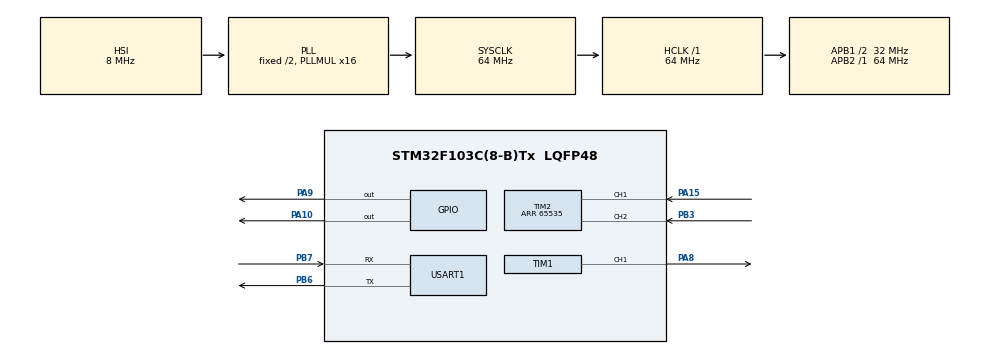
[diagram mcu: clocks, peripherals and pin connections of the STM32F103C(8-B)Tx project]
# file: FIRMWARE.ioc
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Mcu.Family=STM32F1
Mcu.Name=STM32F103C(8-B)Tx
Mcu.Package=LQFP48
NVIC.PriorityGroup=NVIC_PRIORITYGROUP_4
NVIC.TIM3_IRQn=true\:0\:0\:false\:false\:true\:true\:true\:true
NVIC.USART1_IRQn=true\:1\:0\:true\:false\:true\:true\:true\:true
PA10.GPIO_PuPd=GPIO_PULLUP
PA10.Signal=GPIO_Output
PA13.Mode=Serial_Wire
PA13.Signal=SYS_JTMS-SWDIO
PA14.Mode=Serial_Wire
PA14.Signal=SYS_JTCK-SWCLK
PA15.Signal=S_TIM2_CH1_ETR
PA8.Signal=S_TIM1_CH1
PA9.GPIO_PuPd=GPIO_PULLUP
PA9.Signal=GPIO_Output
PB3.GPIO_Mode=GPIO_MODE_INPUT
PB3.GPIO_PuPd=GPIO_PULLUP
PB3.Signal=S_TIM2_CH2
PB6.Mode=Asynchronous
PB6.Signal=USART1_TX
PB7.Mode=Asynchronous
PB7.Signal=USART1_RX
PD0-OSC_IN.Mode=HSE-External-Oscillator
PD0-OSC_IN.Signal=RCC_OSC_IN
PD1-OSC_OUT.Mode=HSE-External-Oscillator
PD1-OSC_OUT.Signal=RCC_OSC_OUT
ProjectManager.HeapSize=0x200
ProjectManager.StackSize=0x400
ProjectManager.TargetToolchain=MDK-ARM V5
RCC.AHBFreq_Value=64000000
RCC.APB1CLKDivider=RCC_HCLK_DIV2
RCC.APB1Freq_Value=32000000
RCC.APB1TimFreq_Value=64000000
RCC.APB2Freq_Value=64000000
RCC.APB2TimFreq_Value=64000000
RCC.HCLKFreq_Value=64000000
RCC.PLLMUL=RCC_PLL_MUL16
RCC.SYSCLKFreq_VALUE=64000000
RCC.SYSCLKSource=RCC_SYSCLKSOURCE_PLLCLK
RCC.USBFreq_Value=64000000
SH.S_TIM1_CH1.0=TIM1_CH1,PWM Generation1 CH1
SH.S_TIM2_CH1_ETR.0=TIM2_CH1,Encoder_Interface
SH.S_TIM2_CH2.0=TIM2_CH2,Encoder_Interface
TIM1.Channel-PWM\ Generation1\ CH1=TIM_CHANNEL_1
TIM1.Period=999
TIM1.Prescaler=639
TIM1.Pulse-PWM\ Generation1\ CH1=0
TIM2.EncoderMode=TIM_ENCODERMODE_TI12
TIM2.IC1Polarity=TIM_ICPOLARITY_RISING
TIM2.IC2Polarity=TIM_ICPOLARITY_RISING
TIM2.Period=65535
TIM3.Period=999
TIM3.Prescaler=639
USART1.VirtualMode=VM_ASYNC
VP_TIM1_VS_ClockSourceINT.Mode=Internal
VP_TIM3_VS_ClockSourceINT.Mode=Internal
board=custom

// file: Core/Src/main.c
/* USER CODE BEGIN Header */
/**
  ******************************************************************************
  * @file           : main.c
  * @brief          : Main program body
  ******************************************************************************
  * @attention
  *
  * Copyright (c) 2023 STMicroelectronics.
  * All rights reserved.
  *
  * This software is licensed under terms that can be found in the LICENSE file
  * in the root directory of this software component.
  * If no LICENSE file comes with this software, it is provided AS-IS.
  *
  ******************************************************************************
  */
/* USER CODE END Header */
#include "main.h"
#include "tim.h"
#include "usart.h"
#include "gpio.h"

/* USER CODE BEGIN Includes */
#include "string.h"
#include "stdio.h"
#include "stdlib.h"
#include "math.h"
#include "stdbool.h"

/* USER CODE END Includes */

void SystemClock_Config(void);
/* USER CODE BEGIN PFP */
int Xung = 1920;			//Xung = Xung/vong * 4 (Mode TI1 AND TI2)
float Ts = 0.05;			//Fs = (APB1 Timer Clocks) / (PSC + 1) = ... (KHz)
											//Ts = (1/Fs) * (Counter Period + 1) = ... (ms)

int BUFF_SIZE = 18;		//So byte trong 1 frame truyen
int ARR, CCR;

float setpoint, Kp, Ki, Kd;
float P_part, I_part, D_part;
float speed, speed_last, position, position_last;
float PID_output, PID_output_last;
float error, error_last, pre_error_last;

char Encoder_read[8];
char* endPtr;

int16_t counter_speed = 0, counter_speed_last = 0, counter_position = 0;

uint8_t nTxData[18];
uint8_t Tx_Index = 0;

uint8_t nRxData[18];
uint8_t Rx_Index = 0;
uint8_t Rx_data;
uint8_t strCommand[4];
uint8_t strOpt[3];
uint8_t strData[8];

uint8_t subData[8];

uint8_t STX[] = {0x02};
uint8_t ETX[] = {0x03};
uint8_t ACK[] = {0x06};
uint8_t SYN[] = {0x16};

uint8_t LOAD[] = {0x4C, 0x4F, 0x41, 0x44};
uint8_t DEMO[] = {0x44, 0x45, 0x4D, 0x4F};
uint8_t STOP[] = {0x53, 0x54, 0x4F, 0x50};

uint8_t SPE[] = {0x53, 0x50, 0x45};
uint8_t POS[] = {0x50, 0x4F, 0x53};

uint8_t optSetpoint[] = {0x4F, 0x53, 0x70};
uint8_t optKp[] = {0x4F, 0x4B, 0x70};
uint8_t optKi[] = {0x4F, 0x4B, 0x69};
uint8_t optKd[] = {0x4F, 0x4B, 0x64};

uint8_t strMode[3];
uint8_t strSetpoint[8];
uint8_t strKp[8];
uint8_t strKi[8];
uint8_t strKd[8];

bool bDataAvailable = false;
bool bStart = false;
bool bRx_flag = false;

/* USER CODE END PFP */

/* USER CODE BEGIN 0 */

bool StrCompare(uint8_t *pBuff, uint8_t *Sample, uint8_t nSize)
{
	for (int i=0; i< nSize; i++)
	{
		if (pBuff[i] != Sample[i])
		{
			return false;
		}
	}
	return true;
}
uint8_t *subString(uint8_t *s, int pos, int index)
{
	memset(subData,0,sizeof(subData));
	int j = pos;
	int k = pos + index;
	for (int i = pos; i < k; i++)
	{
		subData[i-j] = s[i];
	}
	return subData;
}
bool WriteComm(uint8_t *pBuff, uint8_t nSize)
{
	return HAL_UART_Transmit(&huart1, pBuff, nSize, 1000);
}
void PWM_Set_Duty(int Duty)
{
	if(Duty > 0)
	{
		HAL_GPIO_WritePin(GPIOA,GPIO_PIN_9,GPIO_PIN_RESET); // IN1 = 1
		HAL_GPIO_WritePin(GPIOA,GPIO_PIN_10,GPIO_PIN_SET); // IN2 = 0
	}
	else if(Duty < 0)
	{
		Duty = Duty*(-1);
		HAL_GPIO_WritePin(GPIOA,GPIO_PIN_9,GPIO_PIN_SET); // IN1 = 0
		HAL_GPIO_WritePin(GPIOA,GPIO_PIN_10,GPIO_PIN_RESET); // IN2 = 1
	}
	else
	{
		HAL_GPIO_WritePin(GPIOA,GPIO_PIN_9,GPIO_PIN_RESET); // IN1 = 0
		HAL_GPIO_WritePin(GPIOA,GPIO_PIN_10,GPIO_PIN_RESET); // IN2 = 0
	}
	ARR = TIM1->ARR;
	CCR = Duty * (htim1.Instance->ARR)/100;
	htim1.Instance->CCR1 = (int)CCR;
}
void Serial_Process(void)
{
	Tx_Index = 0;
	if(StrCompare(strCommand, LOAD, 4))
	{
		if(StrCompare(strOpt, SPE, 3))
		{
			memcpy(nTxData + Tx_Index, STX, 1);
			Tx_Index +=1;
			memcpy(nTxData + Tx_Index, (uint8_t *)strCommand, 4);
			Tx_Index +=4;
			memcpy(nTxData + Tx_Index, (uint8_t *)strOpt, 3);
			Tx_Index +=3;
			memcpy(nTxData + Tx_Index, (uint8_t *)strData, 8);
			Tx_Index +=8;
			memcpy(nTxData + Tx_Index, ACK, 1);
			Tx_Index +=1;
			memcpy(nTxData + Tx_Index, ETX, 1);

			WriteComm(nTxData, BUFF_SIZE);

			memcpy(strMode, strOpt, 3);
		}
		else if(StrCompare(strOpt, POS, 3))
		{
			memcpy(nTxData + Tx_Index, STX, 1);
			Tx_Index +=1;
			memcpy(nTxData + Tx_Index, (uint8_t *)strCommand, 4);
			Tx_Index +=4;
			memcpy(nTxData + Tx_Index, (uint8_t *)strOpt, 3);
			Tx_Index +=3;
			memcpy(nTxData + Tx_Index, (uint8_t *)strData, 8);
			Tx_Index +=8;
			memcpy(nTxData + Tx_Index, ACK, 1);
			Tx_Index +=1;
			memcpy(nTxData + Tx_Index, ETX, 1);

			WriteComm(nTxData, BUFF_SIZE);

			memcpy(strMode, strOpt, 3);
		}
		else if(StrCompare(strOpt, optSetpoint , 3))
		{
			memcpy(strSetpoint, strData, 8);
			setpoint = atoi((char *)strSetpoint);
		}
		else if(StrCompare(strOpt, optKp, 3))
		{
			memcpy(strKp, strData, 8);
			Kp = strtof((char *)strKp, &endPtr);
		}
		else if(StrCompare(strOpt, optKi, 3))
		{
			memcpy(strKi, strData, 8);
			Ki = strtof((char *)strKi, &endPtr);
		}
		else if(StrCompare(strOpt, optKd, 3))
		{
			memcpy(strKd, strData, 8);
			Kd = strtof((char *)strKd, &endPtr);
		}
	}
	else if(StrCompare(strCommand, DEMO, 4))
	{
		memcpy(nTxData + Tx_Index, STX, 1);
		Tx_Index +=1;
		memcpy(nTxData + Tx_Index, (uint8_t *)strCommand, 4);
		Tx_Index +=4;
		memcpy(nTxData + Tx_Index, (uint8_t *)strOpt, 3);
		Tx_Index +=3;
		memcpy(nTxData + Tx_Index, (uint8_t *)strData, 8);
		Tx_Index +=8;
		memcpy(nTxData + Tx_Index, ACK, 1);
		Tx_Index +=1;
		memcpy(nTxData + Tx_Index, ETX, 1);

		WriteComm(nTxData, BUFF_SIZE);

		bStart = true;
	}
	else if(StrCompare(strCommand, STOP, 4))
	{
		bStart = false;
	}
}
bool ReadComm(uint8_t *pBuff, uint8_t nSize)
{
	if ((pBuff[0] == STX[0]) && (pBuff[17] == ETX[0]))
	{
		memcpy(strCommand, subString(pBuff, 1, 4), 4);
		memcpy(strOpt, subString(pBuff, 5, 3), 3);
		memcpy(strData, subString(pBuff, 8, 8), 8);

		bDataAvailable = true;
	}
	else
	{
		bDataAvailable = false;
	}
	return bDataAvailable;
}
void PID_Speed_Process(void)
{
	speed = (float)counter_speed*60.0f/(Xung*Ts);
	error = setpoint - speed;

	P_part = error;
	I_part += error*Ts;
	D_part = (error - error_last)/Ts;

	PID_output = Kp*P_part + Ki*I_part + Kd*D_part;

	if(PID_output > 99) PID_output = 99;
	else if(PID_output < -99) PID_output = -99;

	speed_last = speed;
	pre_error_last = error_last;
	error_last = error;
	PID_output_last = PID_output;

	PWM_Set_Duty((int)PID_output);
}
void PID_Position_Process(void)
{
	position = (float)counter_position*360/Xung;
	error = setpoint - position;

	P_part = error;
	I_part += error*Ts;
	D_part = (error - error_last)/Ts;

	PID_output = Kp*P_part + Ki*I_part + Kd*D_part;

	if(PID_output > 90) PID_output = 90;
	else if(PID_output < -90) PID_output = -90;

	pre_error_last = error_last;
	error_last = error;
	PID_output_last = PID_output;

	PWM_Set_Duty((int)PID_output);
}
void Encoder(void)
{
	if(bStart == true)
	{
		counter_speed = htim2.Instance->CNT - counter_speed_last;
		counter_speed_last = htim2.Instance->CNT;
		counter_position += counter_speed;
	}
	else if(bStart == false)
	{
		htim2.Instance->CNT = 0;
		counter_speed = 0;
		counter_speed_last = 0;
		counter_position = 0;
	}
}
void HAL_TIM_PeriodElapsedCallback(TIM_HandleTypeDef *htim)
{
	if(htim->Instance == htim3.Instance)
	{
		if(bStart == true)
		{
			Encoder();
			memset(Encoder_read,0,sizeof(Encoder_read));
			memset(strData,0,sizeof(strData));
			if(StrCompare(strMode,SPE,3) == true)
			{
				sprintf(Encoder_read,"%d",counter_speed);
				memcpy(strData,Encoder_read,8);
				Serial_Process();
			}
			else if(StrCompare(strMode,POS,3) == true)
			{
				sprintf(Encoder_read,"%d",counter_position);
				memcpy(strData,Encoder_read,8);
				Serial_Process();
			}
		}
		else if(bStart == false)
		{
			memset(Encoder_read,0,sizeof(Encoder_read));
			memset(strData,0,sizeof(strData));
		}
	}
}
void HAL_UART_RxCpltCallback(UART_HandleTypeDef *huart)
{
	if(huart->Instance == huart1.Instance)
	{
		if(Rx_data != 0x03)
			nRxData[Rx_Index++] = Rx_data;
		else if(Rx_data == 0x03)
		{
			nRxData[17] = Rx_data;
			bRx_flag = true;
		}
		HAL_UART_Receive_IT(&huart1,&Rx_data,1);
	}
}
/* USER CODE END 0 */

int main(void)
{

  /* MCU Configuration--------------------------------------------------------*/

  /* Reset of all peripherals, Initializes the Flash interface and the Systick. */
  HAL_Init();

  /* Configure the system clock */
  SystemClock_Config();

  /* Initialize all configured peripherals */
  MX_GPIO_Init();
  MX_USART1_UART_Init();
  MX_TIM2_Init();
  MX_TIM1_Init();
  MX_TIM3_Init();
  /* USER CODE BEGIN 2 */
	HAL_UART_Receive_IT(&huart1,&Rx_data,1);
	HAL_TIM_Encoder_Start(&htim2, TIM_CHANNEL_ALL);
	HAL_TIM_PWM_Start(&htim1,TIM_CHANNEL_1);
	HAL_TIM_Base_Start_IT(&htim3);
  /* USER CODE END 2 */

  /* Infinite loop */
  while (1)
  {

    /* USER CODE BEGIN 3 */
		if(bRx_flag == true)
		{
			ReadComm(nRxData, BUFF_SIZE);
			bRx_flag = false;
			Rx_Index = 0;
		}
		if(bDataAvailable == true)
		{
			Serial_Process();
			bDataAvailable = false;
		}
		if(bStart == true)
		{
			if(StrCompare(strMode,SPE,3) == true)
			{
				PID_Speed_Process();
			}
			else if(StrCompare(strMode,POS,3) == true)
			{
				PID_Position_Process();
			}
		}
		else
		{
			HAL_GPIO_WritePin(GPIOA,GPIO_PIN_9,GPIO_PIN_RESET); // IN1 = 0
			HAL_GPIO_WritePin(GPIOA,GPIO_PIN_10,GPIO_PIN_RESET); // IN2 = 0

			TIM2->CNT = 0;
			counter_speed = 0;
			counter_speed_last = 0;
			counter_position = 0;

			error = 0;
			error_last = 0;
			pre_error_last = 0;

			PID_output = 0;
			PID_output_last = 0;

			P_part = 0;
			I_part = 0;
			D_part = 0;

			speed = 0;
			position = 0;

			ARR = 0;
			CCR = 0;
		}
  }
  /* USER CODE END 3 */
}

void SystemClock_Config(void)
{
  RCC_OscInitTypeDef RCC_OscInitStruct = {0};
  RCC_ClkInitTypeDef RCC_ClkInitStruct = {0};

  /** Initializes the RCC Oscillators according to the specified parameters
  * in the RCC_OscInitTypeDef structure.
  */
  RCC_OscInitStruct.OscillatorType = RCC_OSCILLATORTYPE_HSI;
  RCC_OscInitStruct.HSIState = RCC_HSI_ON;
  RCC_OscInitStruct.HSICalibrationValue = RCC_HSICALIBRATION_DEFAULT;
  RCC_OscInitStruct.PLL.PLLState = RCC_PLL_ON;
  RCC_OscInitStruct.PLL.PLLSource = RCC_PLLSOURCE_HSI_DIV2;
  RCC_OscInitStruct.PLL.PLLMUL = RCC_PLL_MUL16;
  if (HAL_RCC_OscConfig(&RCC_OscInitStruct) != HAL_OK)
  {
    Error_Handler();
  }

  /** Initializes the CPU, AHB and APB buses clocks
  */
  RCC_ClkInitStruct.ClockType = RCC_CLOCKTYPE_HCLK|RCC_CLOCKTYPE_SYSCLK
                              |RCC_CLOCKTYPE_PCLK1|RCC_CLOCKTYPE_PCLK2;
  RCC_ClkInitStruct.SYSCLKSource = RCC_SYSCLKSOURCE_PLLCLK;
  RCC_ClkInitStruct.AHBCLKDivider = RCC_SYSCLK_DIV1;
  RCC_ClkInitStruct.APB1CLKDivider = RCC_HCLK_DIV2;
  RCC_ClkInitStruct.APB2CLKDivider = RCC_HCLK_DIV1;

  if (HAL_RCC_ClockConfig(&RCC_ClkInitStruct, FLASH_LATENCY_2) != HAL_OK)
  {
    Error_Handler();
  }
}

void Error_Handler(void)
{
  __disable_irq();
  while (1)
  {
  }
}
